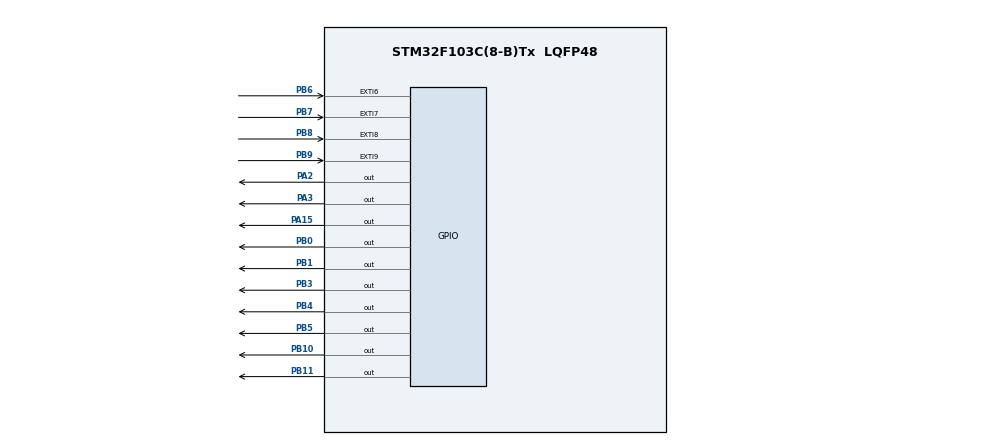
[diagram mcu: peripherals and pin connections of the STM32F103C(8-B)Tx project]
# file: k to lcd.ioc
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Mcu.Family=STM32F1
Mcu.Name=STM32F103C(8-B)Tx
Mcu.Package=LQFP48
NVIC.EXTI9_5_IRQn=true\:0\:0\:false\:false\:true\:true\:true
NVIC.PriorityGroup=NVIC_PRIORITYGROUP_4
PA13.Mode=Serial_Wire
PA13.Signal=SYS_JTMS-SWDIO
PA14.Mode=Serial_Wire
PA14.Signal=SYS_JTCK-SWCLK
PA15.Signal=GPIO_Output
PA2.Signal=GPIO_Output
PA3.Signal=GPIO_Output
PB0.GPIO_Speed=GPIO_SPEED_FREQ_HIGH
PB0.Signal=GPIO_Output
PB1.GPIO_Speed=GPIO_SPEED_FREQ_HIGH
PB1.Signal=GPIO_Output
PB10.GPIO_Speed=GPIO_SPEED_FREQ_HIGH
PB10.Signal=GPIO_Output
PB11.GPIO_Speed=GPIO_SPEED_FREQ_HIGH
PB11.Signal=GPIO_Output
PB3.Signal=GPIO_Output
PB4.Signal=GPIO_Output
PB5.Signal=GPIO_Output
PB6.Signal=GPXTI6
PB7.Signal=GPXTI7
PB8.Signal=GPXTI8
PB9.Signal=GPXTI9
ProjectManager.HeapSize=0x200
ProjectManager.StackSize=0x400
ProjectManager.TargetToolchain=STM32CubeIDE
RCC.APB1Freq_Value=8000000
RCC.APB2Freq_Value=8000000
board=custom

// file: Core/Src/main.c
/* USER CODE BEGIN Header */
/**
  ******************************************************************************
  * @file           : main.c
  * @brief          : Main program body
  ******************************************************************************
  * @attention
  *
  * <h2><center>&copy; Copyright (c) 2021 STMicroelectronics.
  * All rights reserved.</center></h2>
  *
  * This software component is licensed by ST under BSD 3-Clause license,
  * the "License"; You may not use this file except in compliance with the
  * License. You may obtain a copy of the License at:
  *                        opensource.org/licenses/BSD-3-Clause
  *
  ******************************************************************************
  */
/* USER CODE END Header */
#include "main.h"

/* USER CODE BEGIN Includes */
#include "lcd.h"
/* USER CODE END Includes */

/* USER CODE BEGIN PV */
GPIO_InitTypeDef GPIO_InitStructPrivate = {0};
uint32_t previousMillis = 0;
uint32_t currentMillis = 0;
uint8_t keyPressed = 0;
int a=0;
/* USER CODE END PV */

void SystemClock_Config(void);
static void MX_GPIO_Init(void);

int main(void)
{

  /* MCU Configuration--------------------------------------------------------*/

  /* Reset of all peripherals, Initializes the Flash interface and the Systick. */

HAL_Init();

  /* Configure the system clock */
  SystemClock_Config();

  /* Initialize all configured peripherals */
  MX_GPIO_Init();
  /* USER CODE BEGIN 2 */
  HAL_GPIO_WritePin(GPIOA, GPIO_PIN_15, 1);
  HAL_GPIO_WritePin(GPIOB, GPIO_PIN_3, 1);
  HAL_GPIO_WritePin(GPIOB, GPIO_PIN_4, 1);
  HAL_GPIO_WritePin(GPIOB, GPIO_PIN_5, 1);
  Lcd_PortType ports[] = { GPIOB, GPIOB, GPIOB, GPIOB };
  Lcd_PinType pins[] = {GPIO_PIN_0, GPIO_PIN_1, GPIO_PIN_10, GPIO_PIN_11};
  Lcd_HandleTypeDef lcd;
  lcd = Lcd_create(ports, pins, GPIOA, GPIO_PIN_2, GPIOA, GPIO_PIN_3, LCD_4_BIT_MODE);
  Lcd_cursor(&lcd, 0,6);
  Lcd_string(&lcd, "KEY PRESSED");
  Lcd_cursor(&lcd, 1,7);
  HAL_Delay(2000);
  //Lcd_int(&lcd, keyPressed);
  //Lcd_clear(&lcd);
  /* USER CODE END 2 */

  /* Infinite loop */
  /* USER CODE BEGIN WHILE */
  while (1)
  {
 /*for ( int x = 1; x <= 200; x++)
   {
   Lcd_cursor(&lcd, 1,7);
   Lcd_int(&lcd, x);
   HAL_Delay (1000);
   }*/
 if(a==1)
 {
 Lcd_cursor(&lcd, 0,0);
 Lcd_string(&lcd, keyPressed);
 Lcd_cursor(&lcd, 1,0);
 Lcd_int(&lcd, keyPressed);
 a=0;
 }
    /* USER CODE END WHILE */
// Lcd_cursor(&lcd, 1,7);
// Lcd_int(&lcd, keyPressed);
//  HAL_Delay (1000);
  }
}

void SystemClock_Config(void)
{
  RCC_OscInitTypeDef RCC_OscInitStruct = {0};
  RCC_ClkInitTypeDef RCC_ClkInitStruct = {0};

  /** Initializes the RCC Oscillators according to the specified parameters
  * in the RCC_OscInitTypeDef structure.
  */
  RCC_OscInitStruct.OscillatorType = RCC_OSCILLATORTYPE_HSI;
  RCC_OscInitStruct.HSIState = RCC_HSI_ON;
  RCC_OscInitStruct.HSICalibrationValue = RCC_HSICALIBRATION_DEFAULT;
  RCC_OscInitStruct.PLL.PLLState = RCC_PLL_NONE;
  if (HAL_RCC_OscConfig(&RCC_OscInitStruct) != HAL_OK)
  {
    Error_Handler();
  }
  /** Initializes the CPU, AHB and APB buses clocks
  */
  RCC_ClkInitStruct.ClockType = RCC_CLOCKTYPE_HCLK|RCC_CLOCKTYPE_SYSCLK
                              |RCC_CLOCKTYPE_PCLK1|RCC_CLOCKTYPE_PCLK2;
  RCC_ClkInitStruct.SYSCLKSource = RCC_SYSCLKSOURCE_HSI;
  RCC_ClkInitStruct.AHBCLKDivider = RCC_SYSCLK_DIV1;
  RCC_ClkInitStruct.APB1CLKDivider = RCC_HCLK_DIV1;
  RCC_ClkInitStruct.APB2CLKDivider = RCC_HCLK_DIV1;

  if (HAL_RCC_ClockConfig(&RCC_ClkInitStruct, FLASH_LATENCY_0) != HAL_OK)
  {
    Error_Handler();
  }
}

static void MX_GPIO_Init(void)
{
  GPIO_InitTypeDef GPIO_InitStruct = {0};

  /* GPIO Ports Clock Enable */
  __HAL_RCC_GPIOA_CLK_ENABLE();
  __HAL_RCC_GPIOB_CLK_ENABLE();

  /*Configure GPIO pin Output Level */
  HAL_GPIO_WritePin(GPIOA, GPIO_PIN_2|GPIO_PIN_3|GPIO_PIN_15, GPIO_PIN_RESET);

  /*Configure GPIO pin Output Level */
  HAL_GPIO_WritePin(GPIOB, GPIO_PIN_0|GPIO_PIN_1|GPIO_PIN_10|GPIO_PIN_11
                          |GPIO_PIN_3|GPIO_PIN_4|GPIO_PIN_5, GPIO_PIN_RESET);

  /*Configure GPIO pins : PA2 PA3 PA15 */
  GPIO_InitStruct.Pin = GPIO_PIN_2|GPIO_PIN_3|GPIO_PIN_15;
  GPIO_InitStruct.Mode = GPIO_MODE_OUTPUT_PP;
  GPIO_InitStruct.Pull = GPIO_NOPULL;
  GPIO_InitStruct.Speed = GPIO_SPEED_FREQ_HIGH;
  HAL_GPIO_Init(GPIOA, &GPIO_InitStruct);

  /*Configure GPIO pins : PB0 PB1 PB10 PB11
                           PB3 PB4 PB5 */
  GPIO_InitStruct.Pin = GPIO_PIN_0|GPIO_PIN_1|GPIO_PIN_10|GPIO_PIN_11
                          |GPIO_PIN_3|GPIO_PIN_4|GPIO_PIN_5;
  GPIO_InitStruct.Mode = GPIO_MODE_OUTPUT_PP;
  GPIO_InitStruct.Pull = GPIO_NOPULL;
  GPIO_InitStruct.Speed = GPIO_SPEED_FREQ_HIGH;
  HAL_GPIO_Init(GPIOB, &GPIO_InitStruct);

  /*Configure GPIO pins : PB6 PB7 PB8 PB9 */
  GPIO_InitStruct.Pin = GPIO_PIN_6|GPIO_PIN_7|GPIO_PIN_8|GPIO_PIN_9;
  GPIO_InitStruct.Mode = GPIO_MODE_IT_RISING;
  GPIO_InitStruct.Pull = GPIO_NOPULL;
  HAL_GPIO_Init(GPIOB, &GPIO_InitStruct);

  /* EXTI interrupt init*/
  HAL_NVIC_SetPriority(EXTI9_5_IRQn, 0, 0);
  HAL_NVIC_EnableIRQ(EXTI9_5_IRQn);

}

/* USER CODE BEGIN 4 */
void HAL_GPIO_EXTI_Callback(uint16_t GPIO_Pin)
{
  currentMillis = HAL_GetTick();
  if (currentMillis - previousMillis > 10) {
 a=1;
    /*Configure GPIO pins : PB6 PB7 PB8 PB9 to GPIO_INPUT*/
    GPIO_InitStructPrivate.Pin = GPIO_PIN_6|GPIO_PIN_7|GPIO_PIN_8|GPIO_PIN_9;
    GPIO_InitStructPrivate.Mode = GPIO_MODE_INPUT;
    GPIO_InitStructPrivate.Pull = GPIO_NOPULL;
    GPIO_InitStructPrivate.Speed = GPIO_SPEED_FREQ_LOW;
    HAL_GPIO_Init(GPIOB, &GPIO_InitStructPrivate);

    HAL_GPIO_WritePin(GPIOA, GPIO_PIN_15, 1);
    HAL_GPIO_WritePin(GPIOB, GPIO_PIN_3, 0);
    HAL_GPIO_WritePin(GPIOB, GPIO_PIN_4, 0);
    HAL_GPIO_WritePin(GPIOB, GPIO_PIN_5, 0);

    if(GPIO_Pin == GPIO_PIN_6 && HAL_GPIO_ReadPin(GPIOB, GPIO_PIN_6))
    {
      keyPressed = 68; //ASCII value of D
    }
    else if(GPIO_Pin == GPIO_PIN_7 && HAL_GPIO_ReadPin(GPIOB, GPIO_PIN_7))
    {
      keyPressed = 67; //ASCII value of C
    }
    else if(GPIO_Pin == GPIO_PIN_8 && HAL_GPIO_ReadPin(GPIOB, GPIO_PIN_8))
    {
      keyPressed = 66; //ASCII value of B
    }
    else if(GPIO_Pin == GPIO_PIN_9 && HAL_GPIO_ReadPin(GPIOB, GPIO_PIN_9))
    {
      keyPressed = 65; //ASCII value of A
    }

    HAL_GPIO_WritePin(GPIOA, GPIO_PIN_15, 0);
    HAL_GPIO_WritePin(GPIOB, GPIO_PIN_3, 1);
    HAL_GPIO_WritePin(GPIOB, GPIO_PIN_4, 0);
    HAL_GPIO_WritePin(GPIOB, GPIO_PIN_5, 0);
    if(GPIO_Pin == GPIO_PIN_6 && HAL_GPIO_ReadPin(GPIOB, GPIO_PIN_6))
    {
      keyPressed = 35; //ASCII value of #
    }
    else if(GPIO_Pin == GPIO_PIN_7 && HAL_GPIO_ReadPin(GPIOB, GPIO_PIN_7))
    {
      keyPressed = 57; //ASCII value of 9
    }
    else if(GPIO_Pin == GPIO_PIN_8 && HAL_GPIO_ReadPin(GPIOB, GPIO_PIN_8))
    {
      keyPressed = 54; //ASCII value of 6
    }
    else if(GPIO_Pin == GPIO_PIN_9 && HAL_GPIO_ReadPin(GPIOB, GPIO_PIN_9))
    {
      keyPressed = 51; //ASCII value of 3
    }

    HAL_GPIO_WritePin(GPIOA, GPIO_PIN_15, 0);
    HAL_GPIO_WritePin(GPIOB, GPIO_PIN_3, 0);
    HAL_GPIO_WritePin(GPIOB, GPIO_PIN_4, 1);
    HAL_GPIO_WritePin(GPIOB, GPIO_PIN_5, 0);
    if(GPIO_Pin == GPIO_PIN_6 && HAL_GPIO_ReadPin(GPIOB, GPIO_PIN_6))
    {
      keyPressed = 48; //ASCII value of 0
    }
    else if(GPIO_Pin == GPIO_PIN_7 && HAL_GPIO_ReadPin(GPIOB, GPIO_PIN_7))
    {
      keyPressed = 56; //ASCII value of 8
    }
    else if(GPIO_Pin == GPIO_PIN_8 && HAL_GPIO_ReadPin(GPIOB, GPIO_PIN_8))
    {
      keyPressed = 53; //ASCII value of 5
    }
    else if(GPIO_Pin == GPIO_PIN_9 && HAL_GPIO_ReadPin(GPIOB, GPIO_PIN_9))
    {
      keyPressed = 50; //ASCII value of 2
    }

    HAL_GPIO_WritePin(GPIOA, GPIO_PIN_15, 0);
    HAL_GPIO_WritePin(GPIOB, GPIO_PIN_3, 0);
    HAL_GPIO_WritePin(GPIOB, GPIO_PIN_4, 0);
    HAL_GPIO_WritePin(GPIOB, GPIO_PIN_5, 1);
    if(GPIO_Pin == GPIO_PIN_6 && HAL_GPIO_ReadPin(GPIOB, GPIO_PIN_6))
    {
      keyPressed = 42; //ASCII value of *
    }
    else if(GPIO_Pin == GPIO_PIN_7 && HAL_GPIO_ReadPin(GPIOB, GPIO_PIN_7))
    {
      keyPressed = 55; //ASCII value of 7
    }
    else if(GPIO_Pin == GPIO_PIN_8 && HAL_GPIO_ReadPin(GPIOB, GPIO_PIN_8))
    {
      keyPressed = 52; //ASCII value of 4
    }
    else if(GPIO_Pin == GPIO_PIN_9 && HAL_GPIO_ReadPin(GPIOB, GPIO_PIN_9))
    {
      keyPressed = 49; //ASCII value of 1
    }

    HAL_GPIO_WritePin(GPIOA, GPIO_PIN_15, 1);
    HAL_GPIO_WritePin(GPIOB, GPIO_PIN_3, 1);
    HAL_GPIO_WritePin(GPIOB, GPIO_PIN_4, 1);
    HAL_GPIO_WritePin(GPIOB, GPIO_PIN_5, 1);
    /*Configure GPIO pins : PB6 PB7 PB8 PB9 back to EXTI*/
    GPIO_InitStructPrivate.Mode = GPIO_MODE_IT_RISING;
    GPIO_InitStructPrivate.Pull = GPIO_PULLDOWN;
    HAL_GPIO_Init(GPIOB, &GPIO_InitStructPrivate);
    previousMillis = currentMillis;
  }
}
/* USER CODE END 4 */

void Error_Handler(void)
{
  __disable_irq();
  while (1)
  {
  }
}

/************************ (C) COPYRIGHT STMicroelectronics *****END OF FILE****/
